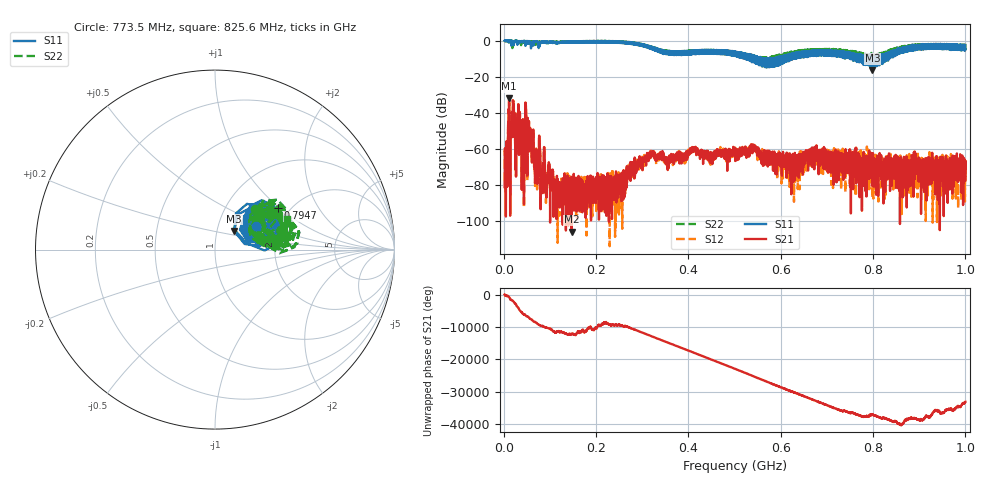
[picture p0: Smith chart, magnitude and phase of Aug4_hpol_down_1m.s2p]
!Keysight Technologies N9923A: A.12.45
!Date: Tuesday, 05 August 2025 17:53:53
!Timezone: (UTC+08:00) Kuala Lumpur, Singapore
!Model: N9923A
!Serial: MY61181427
!GPS Latitude:
!GPS Longitude:
!GPS TimeStamp: 0001-01-01 00:00:00Z
!GPS Seconds Since Last Read: 0
!CHECKSUM:2124821950
!Correction: S11(ON U)S21(ON U)S12(ON U)S22(ON U)
!S2P File: Measurements:S11,S21,S12,S22:
# Hz S DB R 50
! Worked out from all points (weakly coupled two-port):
!   4001 points, 2 MHz to 1 GHz, reference 50 ohm
!   highest |S21| = -32.10 dB at 11.73 MHz (marker M1); lowest = -106.1 dB at 147 MHz (marker M2)
!   lowest |S11| = -16.5 dB at 798.7 MHz (marker M3), VSWR 1.35, Z = 60.5 + j12.8 ohm
!   |S11| at or under -10 dB: 565.4 MHz to 568.6 MHz (3.196 MHz wide, 0.564 % of centre); 572.1 MHz to 575.3 MHz (3.196 MHz wide, 0.557 % of centre); 799.9071 MHz to 802.7794 MHz (2.872 MHz wide, 0.358 % of centre)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
!   |S22| runs from -13.6 to 0.1 dB; largest |S21 - S12| = 0.0011
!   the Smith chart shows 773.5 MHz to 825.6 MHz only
!   S11 on the Smith chart (normalised r, x): 773.5 MHz: 1.51, +0.43; 794.7 MHz: 1.73, +0.97; 825.6 MHz: 1.55, +0.41
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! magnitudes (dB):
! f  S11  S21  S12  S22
! 2 MHz  -0.1  -81.3  -77.9  -0.1
! 11.73 MHz  0.0  -32.1  -32.1  -2.0
! 19.71 MHz  -0.3  -41.7  -41.7  -0.4
! 28.45 MHz  -0.2  -55.4  -55.4  0.0
! 33.69 MHz  -0.6  -49.0  -49.1  -0.1
! 41.17 MHz  -0.9  -58.7  -58.9  -0.6
! 51.4 MHz  -0.5  -59.8  -59.5  -0.6
! 69.86 MHz  -0.5  -62.4  -62.9  -2.2
! 94.81 MHz  -1.0  -78.4  -73.1  -1.0
! 147 MHz  -0.9  -106.1  -88.9  -0.9
! 168.4 MHz  -1.1  -80.0  -81.6  -0.9
! 257.2 MHz  -1.3  -74.4  -79.1  -1.0
! 334.8 MHz  -5.2  -64.0  -63.9  -5.6
! 501 MHz  -6.6  -60.4  -61.0  -7.5
! 625 MHz  -9.7  -68.8  -67.6  -7.1
! 667.4 MHz  -8.1  -64.4  -62.2  -7.2
! 773.5 MHz  -11.6  -68.8  -65.2  -9.9
! 794.7 MHz  -7.6  -65.5  -62.2  -8.1
! 798.7 MHz  -16.5  -70.4  -87.2  -9.3
! 825.6 MHz  -11.5  -78.1  -70.9  -7.2
! 833.8 MHz  -8.1  -69.0  -67.9  -5.6
! 1 GHz  -2.4  -70.9  -77.6  -3.9
